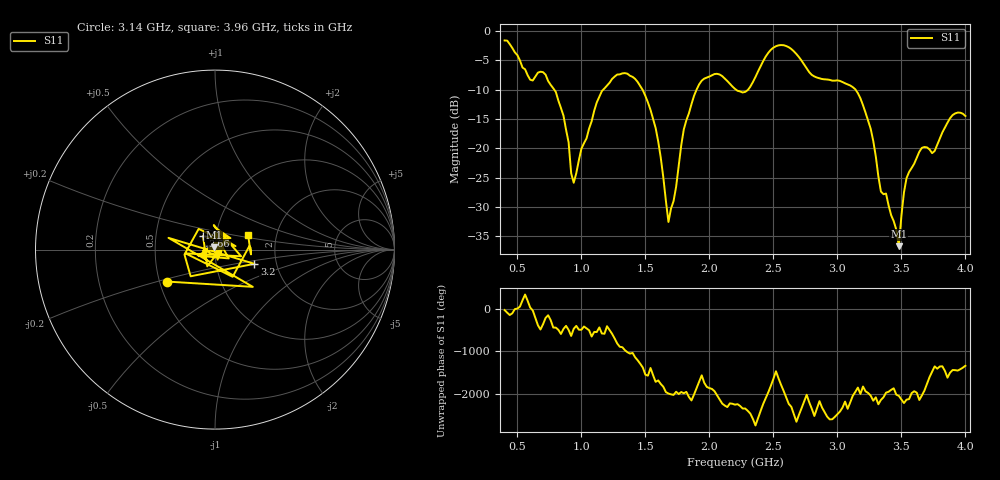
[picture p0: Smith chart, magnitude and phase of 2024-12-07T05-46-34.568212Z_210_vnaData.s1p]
!Created with skrf (http://scikit-rf.org).
# Hz S RI R 50.0
!freq ReS11 ImS11
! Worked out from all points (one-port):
!   181 points, 400 MHz to 4 GHz, reference 50 ohm
!   lowest |S11| = -36.7 dB at 3.48 GHz (marker M1), VSWR 1.03, Z = 49.2 + j1.23 ohm
!   |S11| at or under -10 dB: 788.3 MHz to 1.17 GHz (381.5 MHz wide, 39 % of centre); 1.478 GHz to 1.899 GHz (421.7 MHz wide, 25 % of centre); 3.142 GHz to end of sweep (the widest 3 of 4)
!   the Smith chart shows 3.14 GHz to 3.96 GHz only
!   S11 on the Smith chart (normalised r, x): 3.14 GHz: 0.55, -0.22; 3.2 GHz: 1.54, -0.26; 3.66 GHz: 0.87, +0.13; 3.96 GHz: 1.43, +0.24
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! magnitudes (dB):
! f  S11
! 400 MHz  -1.6
! 600 MHz  -8.3
! 720 MHz  -7.4
! 860 MHz  -14.4
! 940 MHz  -25.9
! 1.12 GHz  -12.2
! 1.3 GHz  -7.4
! 1.54 GHz  -13.4
! 1.6 GHz  -18.8
! 1.68 GHz  -32.6
! 1.76 GHz  -23.0
! 1.8 GHz  -16.8
! 1.94 GHz  -8.4
! 2.2 GHz  -9.9
! 2.3 GHz  -10.0
! 2.5 GHz  -2.8
! 2.66 GHz  -3.4
! 3.1 GHz  -9.3
! 3.14 GHz  -9.9
! 3.2 GHz  -12.6
! 3.34 GHz  -27.4
! 3.48 GHz  -36.7
! 3.52 GHz  -27.5
! 3.56 GHz  -24.0
! 3.66 GHz  -19.9
! 3.76 GHz  -20.4
! 3.96 GHz  -13.9
! 4 GHz  -14.5
